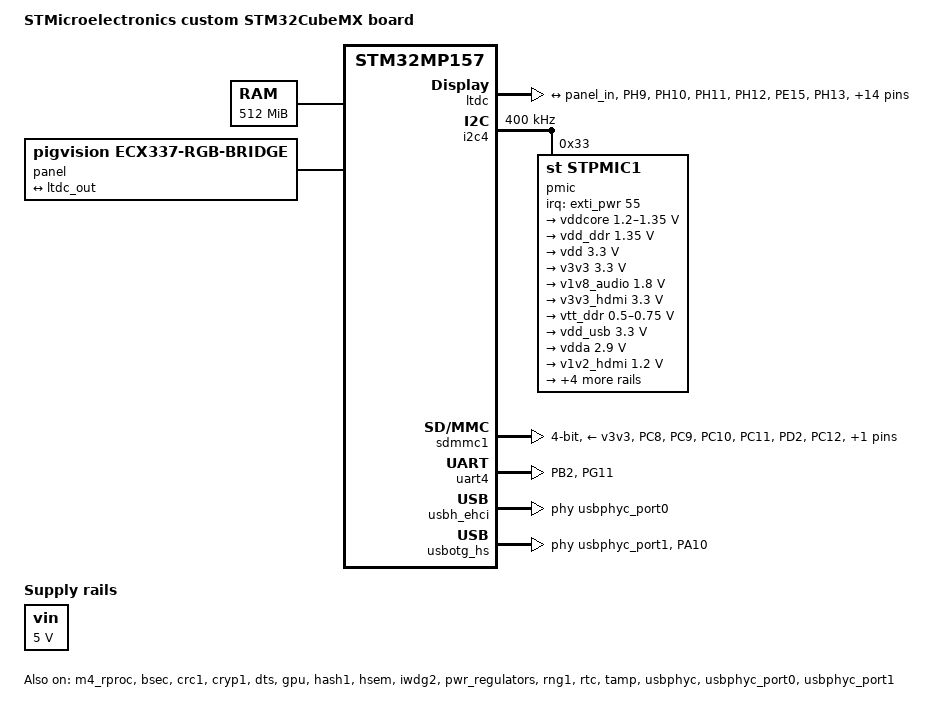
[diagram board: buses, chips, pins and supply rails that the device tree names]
/* SPDX-License-Identifier: (GPL-2.0+ OR BSD-3-Clause) */
/*
 * Copyright (C) STMicroelectronics 2020 - All Rights Reserved
 * Author: STM32CubeMX code generation for STMicroelectronics.
 */

/* For more information on Device Tree configuration, please refer to
 * https://wiki.st.com/stm32mpu/wiki/Category:Device_tree_configuration
 */

/dts-v1/;
#include <dt-bindings/pinctrl/stm32-pinfunc.h>

#include "stm32mp157.dtsi"
#include "stm32mp15xc.dtsi"
#include "stm32mp15xxac-pinctrl.dtsi"
#include "stm32mp157-m4-srm.dtsi"

/* USER CODE BEGIN includes */
#include <dt-bindings/mfd/st,stpmic1.h>
#include <dt-bindings/rtc/rtc-stm32.h>
/* USER CODE END includes */

/ {
	model = "STMicroelectronics custom STM32CubeMX board";
	compatible = "st,stm32mp157c-osd32mp157c-512m-baa_minimalconfig-mx", "st,stm32mp157";

	memory@c0000000 {
		device_type = "memory";
		reg = <0xc0000000 0x20000000>;

		/* USER CODE BEGIN memory */
		/* USER CODE END memory */
	};

	reserved-memory {
		#address-cells = <1>;
		#size-cells = <1>;
		ranges;

		/* USER CODE BEGIN reserved-memory */
    mcuram2: mcuram2@10000000 {
      compatible = "shared-dma-pool";
      reg = <0x10000000 0x40000>;
      no-map;
    };

    vdev0vring0: vdev0vring0@10040000 {
      compatible = "shared-dma-pool";
      reg = <0x10040000 0x1000>;
      no-map;
    };

    vdev0vring1: vdev0vring1@10041000 {
      compatible = "shared-dma-pool";
      reg = <0x10041000 0x1000>;
      no-map;
    };

    vdev0buffer: vdev0buffer@10042000 {
      compatible = "shared-dma-pool";
      reg = <0x10042000 0x4000>;
      no-map;
    };

    mcuram: mcuram@30000000 {
      compatible = "shared-dma-pool";
      reg = <0x30000000 0x40000>;
      no-map;
    };

    retram: retram@38000000 {
      compatible = "shared-dma-pool";
      reg = <0x38000000 0x10000>;
      no-map;
    };
		/* USER CODE END reserved-memory */
	};

	/* USER CODE BEGIN root */
  aliases {
    ethernet0 = &ethernet0;
    serial0 = &uart4;
    serial1 = &usart3;
    serial2 = &uart7;
    serial3 = &usart2;
  };

  chosen {
    stdout-path = "serial0:115200n8";
  };

  vin: vin {
    compatible = "regulator-fixed";
    regulator-name = "vin";
    regulator-min-microvolt = <5000000>;
    regulator-max-microvolt = <5000000>;
    regulator-always-on;
  };
	/* USER CODE END root */

	clocks {

		/* USER CODE BEGIN clocks */
		/* USER CODE END clocks */

#ifndef CONFIG_STM32MP1_TRUSTED
		clk_lsi: clk-lsi {
			clock-frequency = <32000>;
		};
		clk_hsi: clk-hsi {
			clock-frequency = <64000000>;
		};
		clk_csi: clk-csi {
			clock-frequency = <4000000>;
		};
		clk_lse: clk-lse {
			clock-frequency = <32768>;
		};
		clk_hse: clk-hse {
			clock-frequency = <24000000>;
		};
#endif	/*CONFIG_STM32MP1_TRUSTED*/
	};
	
	panel {
		compatible = "pigvision,ecx337-rgb-bridge";
		status = "okay";

		port {
			panel_in: endpoint {
				remote-endpoint = <&ltdc_out>;
			};
		};
	};
	
}; /*root*/

&ltdc {
	pinctrl-names = "default", "sleep";
	pinctrl-0 = <&ltdc_pins_mx>;
	pinctrl-1 = <&ltdc_sleep_pins_mx>;
	status = "okay";

	port {
		ltdc_out: endpoint {
			remote-endpoint = <&panel_in>;
		};
	};
};

&pinctrl {
	u-boot,dm-pre-reloc;
	
	ltdc_pins_mx: ltdc_mx-0 {
		pins {
			pinmux = <STM32_PINMUX('H', 9, AF14)>,
					 <STM32_PINMUX('H', 10, AF14)>,
					 <STM32_PINMUX('H', 11, AF14)>,
					 <STM32_PINMUX('H', 12, AF14)>,
					 <STM32_PINMUX('E', 15, AF14)>,
					 <STM32_PINMUX('H', 13, AF14)>,
					 <STM32_PINMUX('H', 14, AF14)>,
					 <STM32_PINMUX('H', 15, AF14)>,
					 <STM32_PINMUX('I', 0, AF14)>,
					 <STM32_PINMUX('I', 1, AF14)>,
					 <STM32_PINMUX('I', 2, AF14)>,
					 <STM32_PINMUX('D', 10, AF14)>,
					 <STM32_PINMUX('I', 4, AF14)>,
					 <STM32_PINMUX('I', 5, AF14)>,
					 <STM32_PINMUX('I', 6, AF14)>,
					 <STM32_PINMUX('I', 7, AF14)>,
					 <STM32_PINMUX('I', 9, AF14)>,
					 <STM32_PINMUX('I', 10, AF14)>,
					 <STM32_PINMUX('F', 10, AF14)>,
					 <STM32_PINMUX('G', 7, AF14)>;//e14 for brk test
			bias-disable;
			drive-push-pull;
			slew-rate = <2>;
		};
	};
    ltdc_sleep_pins_mx: ltdc_sleep_mx-0 {
		pins {
			pinmux = <STM32_PINMUX('H', 9, ANALOG)>,
					 <STM32_PINMUX('H', 10, ANALOG)>,
					 <STM32_PINMUX('H', 11, ANALOG)>,
					 <STM32_PINMUX('H', 12, ANALOG)>,
					 <STM32_PINMUX('E', 15, ANALOG)>,
					 <STM32_PINMUX('H', 13, ANALOG)>,
					 <STM32_PINMUX('H', 14, ANALOG)>,
					 <STM32_PINMUX('H', 15, ANALOG)>,
					 <STM32_PINMUX('I', 0, ANALOG)>,
					 <STM32_PINMUX('I', 1, ANALOG)>,
					 <STM32_PINMUX('I', 2, ANALOG)>,
					 <STM32_PINMUX('D', 10, ANALOG)>,
					 <STM32_PINMUX('I', 4, ANALOG)>,
					 <STM32_PINMUX('I', 5, ANALOG)>,
					 <STM32_PINMUX('I', 6, ANALOG)>,
					 <STM32_PINMUX('I', 7, ANALOG)>,
					 <STM32_PINMUX('I', 9, ANALOG)>,
					 <STM32_PINMUX('I', 10, ANALOG)>,
					 <STM32_PINMUX('F', 10, ANALOG)>,
					 <STM32_PINMUX('G', 7, ANALOG)>;//e14 for brk test
		};
	};

	sdmmc1_pins_mx: sdmmc1_mx-0 {
		u-boot,dm-pre-reloc;
		pins1 {
			u-boot,dm-pre-reloc;
			pinmux = <STM32_PINMUX('C', 8, AF12)>, /* SDMMC1_D0 */
					 <STM32_PINMUX('C', 9, AF12)>, /* SDMMC1_D1 */
					 <STM32_PINMUX('C', 10, AF12)>, /* SDMMC1_D2 */
					 <STM32_PINMUX('C', 11, AF12)>, /* SDMMC1_D3 */
					 <STM32_PINMUX('D', 2, AF12)>; /* SDMMC1_CMD */
			bias-disable;
			drive-push-pull;
			slew-rate = <1>;
		};
		pins2 {
			u-boot,dm-pre-reloc;
			pinmux = <STM32_PINMUX('C', 12, AF12)>; /* SDMMC1_CK */
			bias-disable;
			drive-push-pull;
			slew-rate = <3>;
		};
	};

	sdmmc1_opendrain_pins_mx: sdmmc1_opendrain_mx-0 {
		u-boot,dm-pre-reloc;
		pins1 {
			u-boot,dm-pre-reloc;
			pinmux = <STM32_PINMUX('C', 8, AF12)>, /* SDMMC1_D0 */
					 <STM32_PINMUX('C', 9, AF12)>, /* SDMMC1_D1 */
					 <STM32_PINMUX('C', 10, AF12)>, /* SDMMC1_D2 */
					 <STM32_PINMUX('C', 11, AF12)>; /* SDMMC1_D3 */
			bias-disable;
			drive-push-pull;
			slew-rate = <1>;
		};
		pins2 {
			u-boot,dm-pre-reloc;
			pinmux = <STM32_PINMUX('C', 12, AF12)>; /* SDMMC1_CK */
			bias-disable;
			drive-push-pull;
			slew-rate = <3>;
		};
		pins3 {
			u-boot,dm-pre-reloc;
			pinmux = <STM32_PINMUX('D', 2, AF12)>; /* SDMMC1_CMD */
			bias-disable;
			drive-open-drain;
			slew-rate = <1>;
		};
	};

	sdmmc1_sleep_pins_mx: sdmmc1_sleep_mx-0 {
		u-boot,dm-pre-reloc;
		pins {
			u-boot,dm-pre-reloc;
			pinmux = <STM32_PINMUX('C', 8, ANALOG)>, /* SDMMC1_D0 */
					 <STM32_PINMUX('C', 9, ANALOG)>, /* SDMMC1_D1 */
					 <STM32_PINMUX('C', 10, ANALOG)>, /* SDMMC1_D2 */
					 <STM32_PINMUX('C', 11, ANALOG)>, /* SDMMC1_D3 */
					 <STM32_PINMUX('C', 12, ANALOG)>, /* SDMMC1_CK */
					 <STM32_PINMUX('D', 2, ANALOG)>; /* SDMMC1_CMD */
		};
	};

	uart4_pins_mx: uart4_mx-0 {
		u-boot,dm-pre-reloc;
		pins1 {
			u-boot,dm-pre-reloc;
			pinmux = <STM32_PINMUX('B', 2, AF8)>; /* UART4_RX */
			bias-disable;
		};
		pins2 {
			u-boot,dm-pre-reloc;
			pinmux = <STM32_PINMUX('G', 11, AF6)>; /* UART4_TX */
			bias-disable;
			drive-push-pull;
			slew-rate = <0>;
		};
	};

	uart4_sleep_pins_mx: uart4_sleep_mx-0 {
		u-boot,dm-pre-reloc;
		pins {
			u-boot,dm-pre-reloc;
			pinmux = <STM32_PINMUX('B', 2, ANALOG)>, /* UART4_RX */
					 <STM32_PINMUX('G', 11, ANALOG)>; /* UART4_TX */
		};
	};

	usb_otg_hs_pins_mx: usb_otg_hs_mx-0 {
		u-boot,dm-pre-reloc;
		pins {
			u-boot,dm-pre-reloc;
			pinmux = <STM32_PINMUX('A', 10, ANALOG)>; /* USB_OTG_HS_ID */
		};
	};

	usb_otg_hs_sleep_pins_mx: usb_otg_hs_sleep_mx-0 {
		u-boot,dm-pre-reloc;
		pins {
			u-boot,dm-pre-reloc;
			pinmux = <STM32_PINMUX('A', 10, ANALOG)>; /* USB_OTG_HS_ID */
		};
	};

	/* USER CODE BEGIN pinctrl */
	/* USER CODE END pinctrl */
};

&pinctrl_z {
	u-boot,dm-pre-reloc;

	i2c4_pins_z_mx: i2c4_mx-0 {
		u-boot,dm-pre-reloc;
		pins {
			u-boot,dm-pre-reloc;
			pinmux = <STM32_PINMUX('Z', 4, AF6)>, /* I2C4_SCL */
					 <STM32_PINMUX('Z', 5, AF6)>; /* I2C4_SDA */
			bias-disable;
			drive-open-drain;
			slew-rate = <0>;
		};
	};

	i2c4_sleep_pins_z_mx: i2c4_sleep_mx-0 {
		u-boot,dm-pre-reloc;
		pins {
			u-boot,dm-pre-reloc;
			pinmux = <STM32_PINMUX('Z', 4, ANALOG)>, /* I2C4_SCL */
					 <STM32_PINMUX('Z', 5, ANALOG)>; /* I2C4_SDA */
		};
	};

	/* USER CODE BEGIN pinctrl_z */
	/* USER CODE END pinctrl_z */
};

&m4_rproc{
	/*Restriction: "memory-region" property is not managed - please to use User-Section if needed*/
	mboxes = <&ipcc 0>, <&ipcc 1>, <&ipcc 2>;
	mbox-names = "vq0", "vq1", "shutdown";
	status = "okay";

	/* USER CODE BEGIN m4_rproc */
  memory-region = <&retram>, <&mcuram>, <&mcuram2>, <&vdev0vring0>,
      <&vdev0vring1>, <&vdev0buffer>;
  interrupt-parent = <&exti>;
  interrupts = <68 1>;
  wakeup-source;
	/* USER CODE END m4_rproc */

	m4_system_resources{
		status = "okay";

		/* USER CODE BEGIN m4_system_resources */
		/* USER CODE END m4_system_resources */
	};
};

&bsec{
	status = "okay";

	/* USER CODE BEGIN bsec */
	/* USER CODE END bsec */
};

&crc1{
	status = "okay";

	/* USER CODE BEGIN crc1 */
	/* USER CODE END crc1 */
};

&cryp1{
	u-boot,dm-pre-reloc;
	status = "okay";

	/* USER CODE BEGIN cryp1 */
	/* USER CODE END cryp1 */
};

&dma1{
	status = "okay";

	/* USER CODE BEGIN dma1 */
  sram = <&dma_pool>;
	/* USER CODE END dma1 */
};

&dma2{
	status = "disabled";

	/* USER CODE BEGIN dma2 */
  sram = <&dma_pool>;
	/* USER CODE END dma2 */
};

&dmamux1{

	dma-masters = <&dma1>;
	dma-channels = <8>;

	status = "okay";

	/* USER CODE BEGIN dmamux1 */
	/* USER CODE END dmamux1 */
};

&dts{
	status = "okay";

	/* USER CODE BEGIN dts */
	/* USER CODE END dts */
};

&gpu{
	status = "okay";

	/* USER CODE BEGIN gpu */
	/* USER CODE END gpu */
};

&hash1{
	u-boot,dm-pre-reloc;
	status = "okay";

	/* USER CODE BEGIN hash1 */
	/* USER CODE END hash1 */
};

&hsem{
	status = "okay";

	/* USER CODE BEGIN hsem */
	/* USER CODE END hsem */
};

&i2c4{
	u-boot,dm-pre-reloc;
	pinctrl-names = "default", "sleep";
	pinctrl-0 = <&i2c4_pins_z_mx>;
	pinctrl-1 = <&i2c4_sleep_pins_z_mx>;
	status = "okay";

	/* USER CODE BEGIN i2c4 */
  i2c-scl-rising-time-ns = <185>;
  i2c-scl-falling-time-ns = <20>;
  clock-frequency = <400000>;
  /delete-property/dmas;
  /delete-property/dma-names;
  pmic: stpmic@33 {
    compatible = "st,stpmic1";
    reg = <0x33>;
    interrupts-extended = <&exti_pwr 55 IRQ_TYPE_EDGE_FALLING>;
    interrupt-controller;
    #interrupt-cells = <2>;
    status = "okay";

    regulators {
      compatible = "st,stpmic1-regulators";
      buck1-supply = <&vin>;
      buck2-supply = <&vin>;
      buck3-supply = <&vin>;
      buck4-supply = <&vin>;
      ldo1-supply = <&v3v3>;
      ldo2-supply = <&vin>;
      ldo3-supply = <&vdd_ddr>;
      ldo4-supply = <&vin>;
      ldo5-supply = <&vin>;
      ldo6-supply = <&v3v3>;
      vref_ddr-supply = <&vin>;
      boost-supply = <&vin>;
      pwr_sw1-supply = <&bst_out>;
      pwr_sw2-supply = <&bst_out>;

      vddcore: buck1 {
        regulator-name = "vddcore";
        regulator-min-microvolt = <1200000>;
        regulator-max-microvolt = <1350000>;
        regulator-always-on;
        regulator-initial-mode = <0>;
        regulator-over-current-protection;
      };

      vdd_ddr: buck2 {
        regulator-name = "vdd_ddr";
        regulator-min-microvolt = <1350000>;
        regulator-max-microvolt = <1350000>;
        regulator-always-on;
        regulator-initial-mode = <0>;
        regulator-over-current-protection;
      };

      vdd: buck3 {
        regulator-name = "vdd";
        regulator-min-microvolt = <3300000>;
        regulator-max-microvolt = <3300000>;
        regulator-always-on;
        st,mask-reset;
        regulator-initial-mode = <0>;
        regulator-over-current-protection;
      };

      v3v3: buck4 {
        regulator-name = "v3v3";
        regulator-min-microvolt = <3300000>;
        regulator-max-microvolt = <3300000>;
        regulator-always-on;
        regulator-over-current-protection;
        regulator-initial-mode = <0>;
      };

      v1v8_audio: ldo1 {
        regulator-name = "v1v8_audio";
        regulator-min-microvolt = <1800000>;
        regulator-max-microvolt = <1800000>;
        regulator-always-on;
        interrupts = <IT_CURLIM_LDO1 0>;
      };

      v3v3_hdmi: ldo2 {
        regulator-name = "v3v3_hdmi";
        regulator-min-microvolt = <3300000>;
        regulator-max-microvolt = <3300000>;
        regulator-always-on;
        interrupts = <IT_CURLIM_LDO2 0>;
      };

      vtt_ddr: ldo3 {
        regulator-name = "vtt_ddr";
        regulator-min-microvolt = <500000>;
        regulator-max-microvolt = <750000>;
        regulator-always-on;
        regulator-over-current-protection;
      };

      vdd_usb: ldo4 {
        regulator-name = "vdd_usb";
        regulator-min-microvolt = <3300000>;
        regulator-max-microvolt = <3300000>;
        interrupts = <IT_CURLIM_LDO4 0>;
        regulator-always-on;
      };

      vdda: ldo5 {
        regulator-name = "vdda";
        regulator-min-microvolt = <2900000>;
        regulator-max-microvolt = <2900000>;
        interrupts = <IT_CURLIM_LDO5 0>;
        regulator-boot-on;
      };

      v1v2_hdmi: ldo6 {
        regulator-name = "v1v2_hdmi";
        regulator-min-microvolt = <1200000>;
        regulator-max-microvolt = <1200000>;
        regulator-always-on;
        interrupts = <IT_CURLIM_LDO6 0>;
      };

      vref_ddr: vref_ddr {
        regulator-name = "vref_ddr";
        regulator-always-on;
        regulator-over-current-protection;
      };

       bst_out: boost {
        regulator-name = "bst_out";
        interrupts = <IT_OCP_BOOST 0>;
       };

      vbus_otg: pwr_sw1 {
        regulator-name = "vbus_otg";
        interrupts = <IT_OCP_OTG 0>;
       };

       vbus_sw: pwr_sw2 {
        regulator-name = "vbus_sw";
        interrupts = <IT_OCP_SWOUT 0>;
        regulator-active-discharge = <1>;
       };
    };

    onkey {
      compatible = "st,stpmic1-onkey";
      interrupts = <IT_PONKEY_F 0>, <IT_PONKEY_R 0>;
      interrupt-names = "onkey-falling", "onkey-rising";
      power-off-time-sec = <10>;
      status = "okay";
    };

    watchdog {
      compatible = "st,stpmic1-wdt";
      status = "disabled";
    };
  };
	/* USER CODE END i2c4 */
};

&ipcc{
	status = "okay";

	/* USER CODE BEGIN ipcc */
	/* USER CODE END ipcc */
};

&iwdg2{
	status = "okay";

	/* USER CODE BEGIN iwdg2 */
  timeout-sec = <32>;
	/* USER CODE END iwdg2 */
};

&m4_dma2{
	status = "okay";

	/* USER CODE BEGIN m4_dma2 */
	/* USER CODE END m4_dma2 */
};

&mdma1{
	status = "okay";

	/* USER CODE BEGIN mdma1 */
	/* USER CODE END mdma1 */
};

&pwr_regulators{
	status = "okay";

	/* USER CODE BEGIN pwr_regulators */
  vdd-supply = <&vdd>;
  vdd_3v3_usbfs-supply = <&vdd_usb>;
	/* USER CODE END pwr_regulators */
};

&rcc{
	u-boot,dm-pre-reloc;
	status = "okay";

	/* USER CODE BEGIN rcc */
	/* USER CODE END rcc */
};

&rng1{
	status = "okay";

	/* USER CODE BEGIN rng1 */
	/* USER CODE END rng1 */
};

&rtc{
	status = "okay";

	/* USER CODE BEGIN rtc */
	/* USER CODE END rtc */
};

&sdmmc1{
	u-boot,dm-pre-reloc;
	pinctrl-names = "default", "opendrain", "sleep";
	pinctrl-0 = <&sdmmc1_pins_mx>;
	pinctrl-1 = <&sdmmc1_opendrain_pins_mx>;
	pinctrl-2 = <&sdmmc1_sleep_pins_mx>;
	status = "okay";

	/* USER CODE BEGIN sdmmc1 */
  cd-gpios = <&gpiod 0 (GPIO_ACTIVE_LOW | GPIO_PULL_UP)>;//g7 for brk test
  disable-wp;
  st,neg-edge;
  bus-width = <4>;
  vmmc-supply = <&v3v3>;
	/* USER CODE END sdmmc1 */
};

&tamp{
	status = "okay";

	/* USER CODE BEGIN tamp */
	/* USER CODE END tamp */
};

&uart4{
	u-boot,dm-pre-reloc;
	pinctrl-names = "default", "sleep";
	pinctrl-0 = <&uart4_pins_mx>;
	pinctrl-1 = <&uart4_sleep_pins_mx>;
	status = "okay";

	/* USER CODE BEGIN uart4 */
  /delete-property/dmas;
  /delete-property/dma-names;
	/* USER CODE END uart4 */
};

&usbh_ehci{
	status = "okay";

	/* USER CODE BEGIN usbh_ehci */
	phys = <&usbphyc_port0>;
	/* USER CODE END usbh_ehci */
};

&usbotg_hs{
	u-boot,dm-pre-reloc;
	pinctrl-names = "default", "sleep";
	pinctrl-0 = <&usb_otg_hs_pins_mx>;
	pinctrl-1 = <&usb_otg_hs_sleep_pins_mx>;
	status = "okay";

	/* USER CODE BEGIN usbotg_hs */
	phys = <&usbphyc_port1 0>;
	phy-names = "usb2-phy";
	//usb-role-switch;
	/* USER CODE END usbotg_hs */
};

&usbphyc{
	u-boot,dm-pre-reloc;
	status = "okay";

	/* USER CODE BEGIN usbphyc */
	/* USER CODE END usbphyc */
};

&usbphyc_port0{
	u-boot,dm-pre-reloc;
	status = "okay";

	/* USER CODE BEGIN usbphyc_port0 */
	phy-supply = <&vdd_usb>;
	/* USER CODE END usbphyc_port0 */
};

&usbphyc_port1{
	u-boot,dm-pre-reloc;
	status = "okay";

	/* USER CODE BEGIN usbphyc_port1 */
	phy-supply = <&vdd_usb>;
	/* USER CODE END usbphyc_port1 */
};

/* USER CODE BEGIN addons */
&cpu0{
	cpu-supply = <&vddcore>;
};

&cpu1{
	cpu-supply = <&vddcore>;
};

&sram {
	dma_pool: dma_pool@0 {
		reg = <0x50000 0x10000>;
		pool;
	};
};
/* USER CODE END addons */
